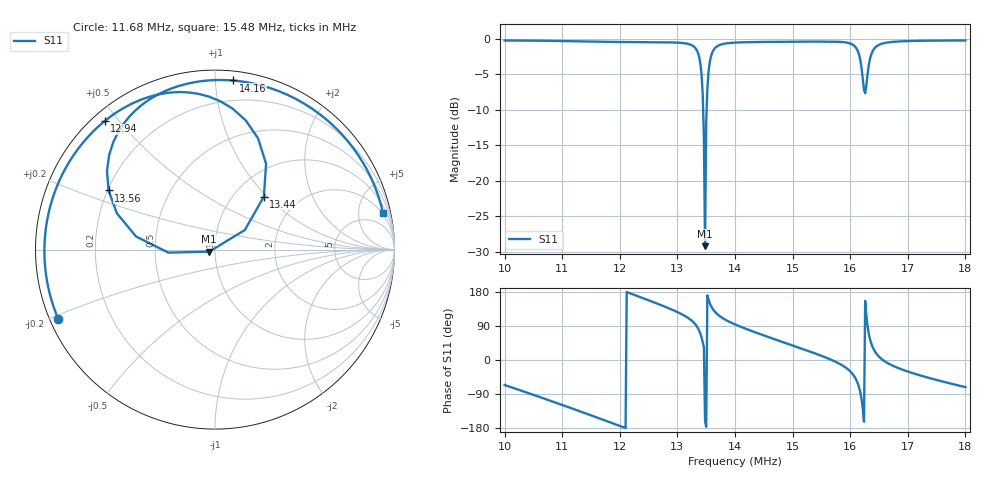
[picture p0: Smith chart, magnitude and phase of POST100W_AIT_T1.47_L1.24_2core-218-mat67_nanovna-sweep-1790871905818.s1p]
! NanoVNA Web complex sweep
! Processing: original sample grid, no browser smoothing
# Hz S RI R 50
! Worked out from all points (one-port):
!   401 points, 10 MHz to 18 MHz, reference 50 ohm
!   lowest |S11| = -29.2 dB at 13.48 MHz (marker M1), VSWR 1.07, Z = 46.8 - j1.08 ohm
!   |S11| at or under -10 dB: 13.44683 MHz to 13.50723 MHz (60.4 kHz wide, 0.448 % of centre)
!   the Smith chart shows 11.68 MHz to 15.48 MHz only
!   S11 on the Smith chart (normalised r, x): 11.68 MHz: 0.02, -0.21; 12.94 MHz: 0.04, +0.46; 13.44 MHz: 1.36, +0.96; 13.56 MHz: 0.20, +0.25; 14.16 MHz: 0.06, +1.11; 15.48 MHz: 1.80, +8.92
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1e7  0.3963 -0.8904
1.1e7  -0.4631 -0.8477
1.168e7  -0.8728 -0.3882
1.2e7  -0.9461 -0.1004
1.294e7  -0.6146 0.716
1.3e7  -0.56 0.7572
1.332e7  -0.0353 0.8531
1.34e7  0.2399 0.62
1.344e7  0.2723 0.2956
1.348e7  -0.0326 -0.0115
1.352e7  -0.4397 0.0728
1.356e7  -0.593 0.3293
1.37e7  -0.4452 0.7739
1.4e7  -0.0643 0.9398
1.416e7  0.0999 0.9421
1.5e7  0.7484 0.5934
1.548e7  0.9359 0.2042
1.6e7  0.8045 -0.4606
1.608e7  0.6227 -0.6318
1.616e7  0.1878 -0.7348
1.62e7  -0.1691 -0.5885
1.624e7  -0.4162 -0.1278
1.632e7  0.202 0.6104
1.638e7  0.6361 0.4928
1.646e7  0.8552 0.2421
1.666e7  0.9333 -0.1479
1.7e7  0.832 -0.4896
1.8e7  0.309 -0.9251
